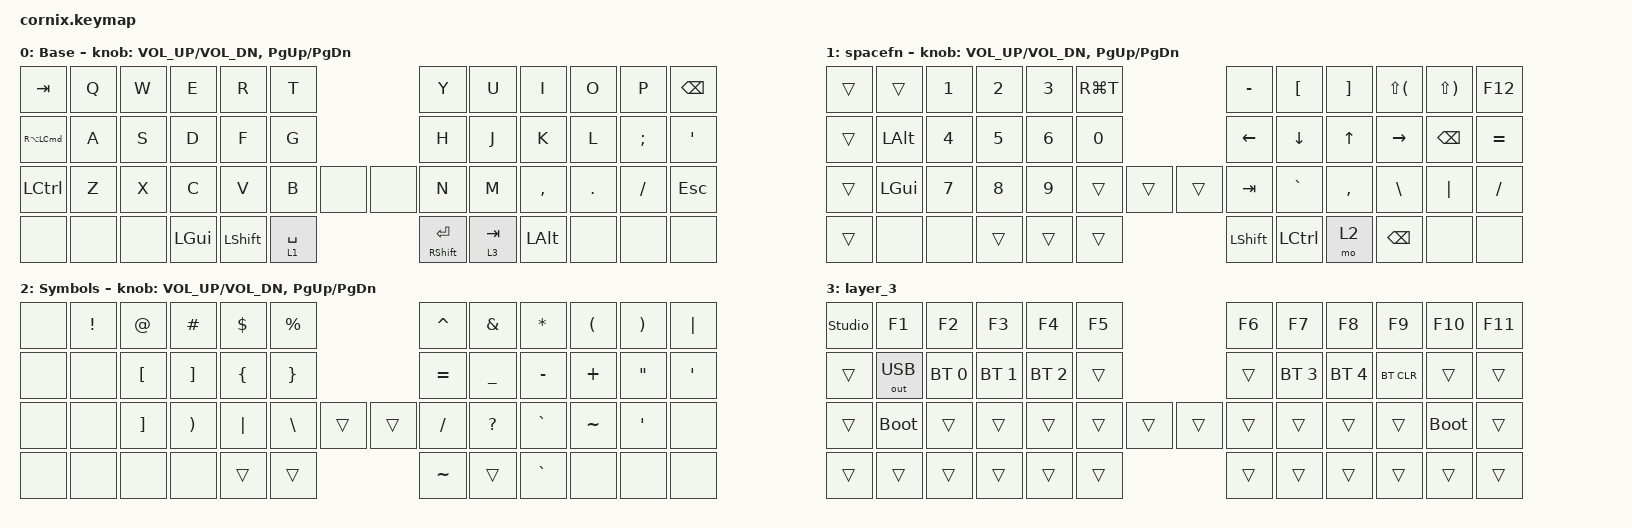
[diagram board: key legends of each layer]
/*
 * Copyright (c) 2020 The ZMK Contributors
 *
 * SPDX-License-Identifier: MIT
 */

#include "zmk-helpers/helper.h"
#include "includes/cornix54.h"

// tap windows for ctl alt and gui

#define HM_TAPPING_TERM 250
#define HM_TAPPING_REPEAT 210

// quick tapping for shift

#define HM_TAPPING_TERM_FAST 200
#define HM_PRIOR_IDLE 70
#define BASE 0
#define WIN 1
#define LOWER 2
#define RAISE 3
#define ADJUST 4
#define NAVI   5
#define NUM    6
#define DEBUG  7

// https://github.com/urob/zmk-config/tree/main#timeless-homerow-mods

#define KEYS_L LT0 LT1 LT2 LT3 LT4 LT5 LM0 LM1 LM2 LM3 LM4 LM5 LB0 LB1 LB2 LB3 LB4 LB5  // left hand
#define KEYS_R RT0 RT1 RT2 RT3 RT4 RT5 RM0 RM1 RM2 RM3 RM4 RM5 RB0 RB1 RB2 RB3 RB4 RB5  // right hand
#define THUMBS LH1 LH0 RH0 RH1
#define KEYS_T LH1 LH0 RH0 RH1
#define ZMK_POINTING_DEFAULT_SCRL_VAL 15

#include <behaviors.dtsi>
#include <dt-bindings/zmk/bt.h>
#include <dt-bindings/zmk/keys.h>
#include <dt-bindings/zmk/outputs.h>

/ {
    // Activate ADJUST layer by pressing raise and lower

    behaviors {
        hm_l: homerow_mods_left {
            compatible = "zmk,behavior-hold-tap";
            #binding-cells = <2>;
            bindings = <&kp>, <&kp>;

            flavor = "balanced";
            tapping-term-ms = <HM_TAPPING_TERM>;
            quick-tap-ms = <200>;                // repeat on tap-into-hold
            require-prior-idle-ms = <HM_PRIOR_IDLE>;
            hold-trigger-key-positions = <KEYS_R KEYS_T>;
            hold-trigger-on-release;
        };

        hm_r: homerow_mods_right {
            compatible = "zmk,behavior-hold-tap";
            #binding-cells = <2>;
            bindings = <&kp>, <&kp>;

            flavor = "balanced";
            tapping-term-ms = <HM_TAPPING_TERM>;
            quick-tap-ms = <200>;
            require-prior-idle-ms = <HM_PRIOR_IDLE>;
            hold-trigger-key-positions = <KEYS_L KEYS_T>;
            hold-trigger-on-release;
        };

        // Positional Homerow mods for shift
        // Use faster tapping term and disable some features that may
        // cause false negatives.

        hm_shift_l: hm_shift_l {
            compatible = "zmk,behavior-hold-tap";
            #binding-cells = <2>;
            bindings = <&kp>, <&kp>;

            //flavor = "balanced";

            flavor = "balanced";
            tapping-term-ms = <HM_TAPPING_TERM_FAST>;
            quick-tap-ms = <200>;
            require-prior-idle-ms = <HM_PRIOR_IDLE>;
            hold-trigger-key-positions = <KEYS_R KEYS_T>;
            hold-trigger-on-release;
        };

        hm_shift_r: hm_shift_r {
            compatible = "zmk,behavior-hold-tap";
            #binding-cells = <2>;
            bindings = <&kp>, <&kp>;

            flavor = "balanced";
            tapping-term-ms = <HM_TAPPING_TERM_FAST>;
            quick-tap-ms = <200>;
            require-prior-idle-ms = <HM_PRIOR_IDLE>;
            hold-trigger-key-positions = <KEYS_L KEYS_T>;

            // for quick tapping; shift+~

            hold-trigger-on-release;
        };

        /*
         * Non-Positional Homerow Mods
         * Used for &mm_grescm_gui behavior on left hand.
         *
         * Usage: &hm LSHFT T
         * Tap: T
         * Tap-Tap-Hold: Repeat T
         * Hold: LSHIFT
         */

        hm: homerow_mods {
            compatible = "zmk,behavior-hold-tap";
            #binding-cells = <2>;
            bindings = <&kp>, <&kp>;

            flavor = "balanced";
            tapping-term-ms = <HM_TAPPING_TERM>;
            quick-tap-ms = <200>;
        };
    };

    conditional_layers {
        compatible = "zmk,conditional-layers";

        adjust_layer {
            if-layers = <3 2>;
            then-layer = <4>;
        };
    };

    combos {
        compatible = "zmk,combos";

        cl_sq_br {
            bindings = <&kp RIGHT_BRACKET>;
            key-positions = <7 8>;
        };

        op_sq_br {
            bindings = <&kp LEFT_BRACKET>;
            key-positions = <3 4>;
        };

        cl_r_br {
            bindings = <&kp RIGHT_PARENTHESIS>;
            key-positions = <19 20>;
        };

        op_r_br {
            bindings = <&kp LEFT_PARENTHESIS>;
            key-positions = <15 16>;
        };

        cl_c_br {
            bindings = <&kp RIGHT_BRACE>;
            key-positions = <33 34>;
        };

        op_c_br {
            bindings = <&kp LEFT_BRACE>;
            key-positions = <27 28>;
        };
    };

    keymap {
        compatible = "zmk,keymap";

        default_layer {
            display-name = "Base";

            // ------------------------------------------------------------------------------------------------------------
            // |   `   |  1  |  2  |  3   |  4   |  5   |                   |  6   |  7    |  8    |  9   |   0   |       |
            // |  ESC  |  Q  |  W  |  E   |  R   |  T   |                   |  Y   |  U    |  I    |  O   |   P   | BKSPC |
            // |  TAB  |  A  |  S  |  D   |  F   |  G   |                   |  H   |  J    |  K    |  L   |   ;   |   '   |
            // | SHIFT |  Z  |  X  |  C   |  V   |  B   |  MUTE  |  |       |  N   |  M    |  ,    |  .   |   /   | SHIFT |
            //               | GUI | ALT  | CTRL | LOWER|  ENTER |  | SPACE | RAISE| CTRL  | ALT   | GUI  |

            bindings = <
&kp TAB               &kp Q  &kp W  &kp E     &kp R      &kp T                      &kp Y             &kp U      &kp I      &kp O    &kp P     &kp BSPC
&kp RA(LEFT_COMMAND)  &kp A  &kp S  &kp D     &kp F      &kp G                      &kp H             &kp J      &kp K      &kp L    &kp SEMI  &kp SQT
&kp LCTRL             &kp Z  &kp X  &kp C     &kp V      &kp B        &none  &none  &kp N             &kp M      &kp COMMA  &kp DOT  &kp FSLH  &kp ESC
&none                 &none  &none  &kp LGUI  &kp LSHFT  &lt 1 SPACE                &mt RSHIFT ENTER  &lt 3 TAB  &kp LALT   &none    &none     &none
            >;

            sensor-bindings = <&inc_dec_kp C_VOL_UP C_VOL_DN &inc_dec_kp PG_UP PG_DN>;
        };

        lower_layer {
            display-name = "spacefn";

            // ------------------------------------------------------------------------------------------------------------
            // |   `   |  1  |  2  |  3   |  4   |  5   |                   |  6   |  7    |  8    |  9   |   0   |       |
            // |  ESC  |  Q  |  W  |  E   |  R   |  T   |                   |  Y   |  U    |  I    |  O   |   P   | BKSPC |
            // |  TAB  |  A  |  S  |  D   |  F   |  G   |                   |  H   |  J    |  K    |  L   |   ;   |   '   |
            // | SHIFT |  Z  |  X  |  C   |  V   |  B   |  MUTE  |  |       |  N   |  M    |  ,    |  .   |   /   | SHIFT |
            //               | GUI | ALT  | CTRL | LOWER|  ENTER |  | SPACE | RAISE| CTRL  | ALT   | GUI  |

            bindings = <
&trans  &trans    &kp N1  &kp N2  &kp N3  &kp RG(T)                  &kp MINUS       &kp LBKT        &kp RBKT      &kp LS(LEFT_PARENTHESIS)  &kp LS(RIGHT_PARENTHESIS)  &kp F12
&trans  &kp LALT  &kp N4  &kp N5  &kp N6  &kp N0                     &kp LEFT_ARROW  &kp DOWN_ARROW  &kp UP_ARROW  &kp RIGHT_ARROW           &kp BSPC                   &kp EQUAL
&trans  &kp LGUI  &kp N7  &kp N8  &kp N9  &trans     &trans  &trans  &kp TAB         &kp GRAVE       &kp COMMA     &kp BSLH                  &kp PIPE                   &kp FSLH
&trans  &none     &none   &trans  &trans  &trans                     &kp LSHFT       &kp LCTRL       &mo 2         &kp BSPC                  &none                      &none
            >;

            sensor-bindings = <&inc_dec_kp C_VOL_UP C_VOL_DN &inc_dec_kp PG_UP PG_DN>;
        };

        Symbol_layer {
            display-name = "Symbols";

            // TODO: Some binds are waiting for shifted keycode support.
            // -------------------------------
            // |       |  F1 |  F2 |  F3  |  F4  |  F5  |                   |  F6  |  F7   |  F8   |  F9  |  F10  |  F11  |
            // |   `   |  1  |  2  |  3   |  4   |  5   |                   |  6   |  7    |  8    |  9   |   0   |  F12  |
            // |       |  !  |  @  |  #   |  $   |  %   |                   |  ^   |  &    |  *    |  (   |   )   |   |   |
            // |       |  =  |  -  |  +   |  {   |  }   |        |  |       |  [   |  ]    |  ;    |  :   |   \   |       |
            //               |     |      |      |      |        |  |       |      |       |       |      |

            bindings = <
&none  &kp EXCL  &kp AT    &kp HASH  &kp DLLR  &kp PRCNT                  &kp CARET  &kp AMPS      &kp ASTRK  &kp LPAR   &kp RPAR  &kp PIPE
&none  &none     &kp LBKT  &kp RBKT  &kp LBRC  &kp RBRC                   &kp EQUAL  &kp UNDER     &kp MINUS  &kp PLUS   &kp DQT   &kp SQT
&none  &none     &kp RBKT  &kp RPAR  &kp PIPE  &kp BSLH   &trans  &trans  &kp FSLH   &kp QUESTION  &kp GRAVE  &kp TILDE  &kp SQT   &none
&none  &none     &none     &none     &trans    &trans                     &kp TILDE  &trans        &kp GRAVE  &none      &none     &none
            >;

            sensor-bindings = <&inc_dec_kp C_VOL_UP C_VOL_DN &inc_dec_kp PG_UP PG_DN>;
        };

        layer_3 {
            bindings = <
&studio_unlock  &kp F1        &kp F2        &kp F3        &kp F4        &kp F5                  &kp F6  &kp F7        &kp F8        &kp F9      &kp F10      &kp F11
&trans          &out OUT_USB  &bt BT_SEL 0  &bt BT_SEL 1  &bt BT_SEL 2  &trans                  &trans  &bt BT_SEL 3  &bt BT_SEL 4  &bt BT_CLR  &trans       &trans
&trans          &bootloader   &trans        &trans        &trans        &trans  &trans  &trans  &trans  &trans        &trans        &trans      &bootloader  &trans
&trans          &trans        &trans        &trans        &trans        &trans                  &trans  &trans        &trans        &trans      &trans       &trans
            >;
        };
    };
};
